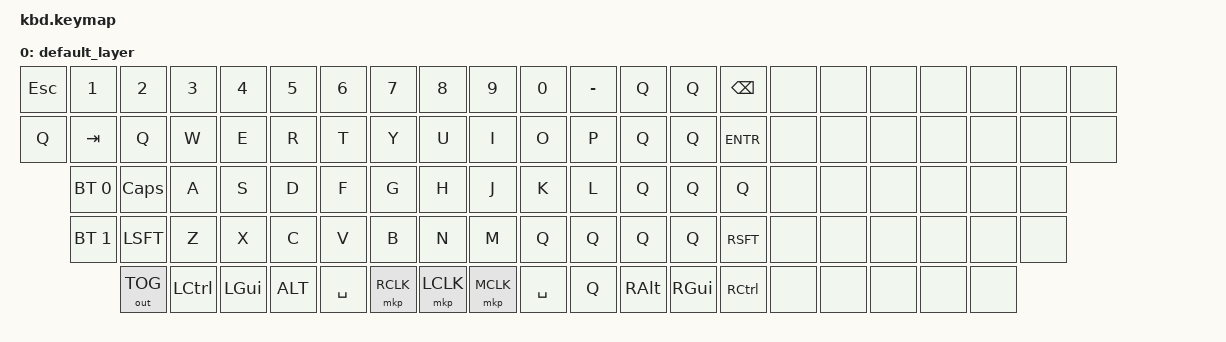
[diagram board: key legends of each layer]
#include <behaviors.dtsi>
#include <dt-bindings/zmk/keys.h>
#include <dt-bindings/zmk/bt.h>
#include <dt-bindings/zmk/outputs.h>
#include <dt-bindings/zmk/pointing.h>

#include "keycode_japanese.h"

/ {
        keymap {
                compatible = "zmk,keymap";

                default_layer {
// |      | SW1  | SW6  | SW11 | SW16 | SW21 | SW26 | SW31 |   | SW1  | SW6  | SW11 | SW16 | SW21 | SW26 | SW31 | SW36 |   | SW1  | SW6  | SW11 |      |      |      |      |
// | SW2  | SW7  | SW12 | SW17 | SW22 | SW27 | SW32 |      |   | SW2  | SW7  | SW12 | SW17 | SW22 | SW27 | SW32 | SW37 |   | SW2  | SW7  | SW12 | SW16 | SW21 | SW26 | SW31 |
// | SW3  | SW8  | SW13 | SW18 | SW23 | SW28 | SW33 |      |   | SW3  | SW8  | SW13 | SW18 | SW23 | SW28 | SW33 |      |   | SW3  | SW8  | SW13 | SW17 | SW22 | SW27 | SW32 |
// | SW4  | SW9  | SW14 | SW19 | SW24 | SW29 | SW34 |      |   | SW4  | SW9  | SW14 | SW19 | SW24 | SW29 | SW34 | SW39 |   |      |      |      | SW18 | SW23 | SW28 |      |
// | SW5  | SW10 | SW15 | SW20 | SW25 | SW30 |      |      |   | SW10 |      | SW15 |      | SW25 | SW30 | SW35 | SW40 |   |      | SW9  |      | SW19 | SW24 | SW29 | SW34 |
// |      |      |      |      |      |      | SW35 |      |   | SW5  |      |      |      |      |      |      |      |   | SW5  | SW10 | SW15 | SW20 |      | SW30 |      |
// -----------------------------------------------------------------------------------------
// |      |  ESC |  1   |  2   |  3   |  4   |  5   |  6   |   |  7   |  8   |  9   |  0   |  -=  |  ^~  |  \|  | BKSP |   | PTSC | SCLK | PAUS |      |      |      |      |
// | MAC1 |  TAB |  Q   |  W   |  E   |  R   |  T   |      |   |  Y   |  U   |  I   |  O   |  P   |  @`  |  [{  | ENTR |   | INS  | HOME | PGUP | NMLK |  /   |  *   |  -   |
// | MAC2 | CAPS |  A   |  S   |  D   |  F   |  G   |      |   |  H   |  J   |  K   |  L   |  ;+  |  :*  |  ]}  |      |   | DEL  | END  | PGDN |  7   |  8   |  9   |  +   |
// | MAC3 | SHFT |  Z   |  X   |  C   |  V   |  B   |      |   |  N   |  M   |  ,<  |  .>  |  /?  |  \_  | RSFT |  FN  |   |      |      |      |  4   |  5   |  6   |      |
// | MAC4 | CTRL |  Z   | GUI  | LWR  | SPC  |      |      |   | MMB  |      | SPC  |      | HEN  | ALT  | GUI  | CTRL |   |      |  UP  |      |  1   |  2   |  3   | ENTR |
// |      |      |      |      |      |      | RMB  |      |   | LMB  |      |      |      |      |      |      |      |   | LEFT | DOWN | RIGH |  0   |      |  .   |      |
                        bindings = <
          &kp ESC &kp N1 &kp N2 &kp N3 &kp N4 &kp N5 &kp N6      &kp N7 &kp N8 &kp N9 &kp N0 &kp MINUS &kp Q &kp Q &kp BKSP   &none &none &none &none &none &none &none
   &kp Q &kp TAB &kp Q &kp W  &kp E  &kp R  &kp T          &kp Y  &kp U  &kp I  &kp O  &kp P &kp Q &kp Q &kp ENTR             &none &none &none &none &none &none &none
   &bt BT_SEL 0 &kp CAPS &kp A &kp S &kp D  &kp F  &kp G         &kp H  &kp J  &kp K  &kp L &kp Q &kp Q &kp Q              &none &none &none &none &none &none
   &bt BT_SEL 1 &kp LSFT &kp Z &kp X  &kp C &kp V &kp B          &kp N &kp M &kp Q &kp Q &kp Q &kp Q &kp RSFT &none        &none       &none &none &none &none
   &out OUT_TOG &kp LCTL &kp LGUI &kp ALT &kp SPACE    &mkp RCLK &mkp LCLK &mkp MCLK &kp SPC &kp Q &kp RALT &kp RGUI &kp RCTL           &none &none &none &none       &none
                        >;
                };
        };
};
